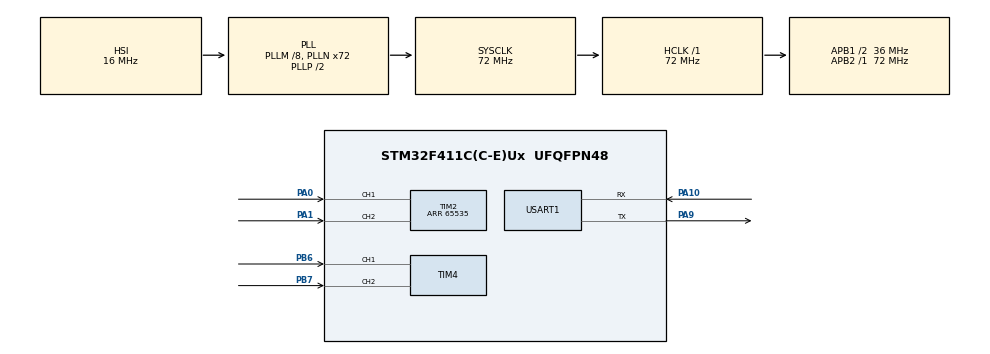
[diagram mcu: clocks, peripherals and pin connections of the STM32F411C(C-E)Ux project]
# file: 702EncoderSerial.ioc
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Mcu.Family=STM32F4
Mcu.Name=STM32F411C(C-E)Ux
Mcu.Package=UFQFPN48
NVIC.PriorityGroup=NVIC_PRIORITYGROUP_4
NVIC.TIM2_IRQn=true\:0\:0\:false\:false\:true\:true\:true\:true
NVIC.USART1_IRQn=true\:0\:0\:false\:false\:true\:true\:true\:true
PA0-WKUP.Signal=S_TIM2_CH1_ETR
PA1.Signal=S_TIM2_CH2
PA10.Mode=Asynchronous
PA10.Signal=USART1_RX
PA13.Mode=Serial_Wire
PA13.Signal=SYS_JTMS-SWDIO
PA14.Mode=Serial_Wire
PA14.Signal=SYS_JTCK-SWCLK
PA9.Mode=Asynchronous
PA9.Signal=USART1_TX
PB6.Signal=S_TIM4_CH1
PB7.Signal=S_TIM4_CH2
PH0\ -\ OSC_IN.Mode=HSE-External-Oscillator
PH0\ -\ OSC_IN.Signal=RCC_OSC_IN
PH1\ -\ OSC_OUT.Mode=HSE-External-Oscillator
PH1\ -\ OSC_OUT.Signal=RCC_OSC_OUT
ProjectManager.HeapSize=0x200
ProjectManager.StackSize=0x400
ProjectManager.TargetToolchain=STM32CubeIDE
RCC.48MHZClocksFreq_Value=36000000
RCC.AHBFreq_Value=72000000
RCC.APB1CLKDivider=RCC_HCLK_DIV2
RCC.APB1Freq_Value=36000000
RCC.APB1TimFreq_Value=72000000
RCC.APB2Freq_Value=72000000
RCC.APB2TimFreq_Value=72000000
RCC.CortexFreq_Value=72000000
RCC.HCLKFreq_Value=72000000
RCC.HSE_VALUE=25000000
RCC.HSI_VALUE=16000000
RCC.LSE_VALUE=32768
RCC.PLLM=8
RCC.PLLN=72
RCC.SYSCLKFreq_VALUE=72000000
RCC.SYSCLKSource=RCC_SYSCLKSOURCE_PLLCLK
RCC.VCOOutputFreq_Value=144000000
SH.S_TIM2_CH1_ETR.0=TIM2_CH1,Encoder_Interface
SH.S_TIM2_CH2.0=TIM2_CH2,Encoder_Interface
SH.S_TIM4_CH1.0=TIM4_CH1,Encoder_Interface
SH.S_TIM4_CH2.0=TIM4_CH2,Encoder_Interface
TIM2.EncoderMode=TIM_ENCODERMODE_TI12
TIM2.IC1Filter=10
TIM2.IC1Polarity=TIM_ICPOLARITY_FALLING
TIM2.IC2Polarity=TIM_ICPOLARITY_FALLING
TIM2.Period=65535
TIM4.IC1Filter=10
USART1.VirtualMode=VM_ASYNC
board=custom

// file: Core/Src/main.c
/* USER CODE BEGIN Header */
/**
  ******************************************************************************
  * @file           : main.c
  * @brief          : Main program body
  ******************************************************************************
  * @attention
  *
  * Copyright (c) 2025 STMicroelectronics.
  * All rights reserved.
  *
  * This software is licensed under terms that can be found in the LICENSE file
  * in the root directory of this software component.
  * If no LICENSE file comes with this software, it is provided AS-IS.
  *
  ******************************************************************************
  */

//La Fórmula Clave
//La relación entre estos parámetros y el tiempo deseado es la siguiente:
//
//Frecuencia_Deseada = Frecuencia_Reloj_Entrada / ((Prescaler + 1) * (Counter_Period + 1))
//
//O, si quieres calcular el Tiempo_Período (el inverso de la frecuencia):
//
//Tiempo_Período = ((Prescaler + 1) * (Counter_Period + 1)) / Frecuencia_Reloj_Entrada

#include <stdio.h>
/* USER CODE END Header */
#include "main.h"

TIM_HandleTypeDef htim2;
TIM_HandleTypeDef htim4;

UART_HandleTypeDef huart1;

void SystemClock_Config(void);
static void MX_GPIO_Init(void);
static void MX_USART1_UART_Init(void);
static void MX_TIM2_Init(void);
static void MX_TIM4_Init(void);

/* USER CODE BEGIN 0 */

uint32_t counter = 0;
int16_t count = 0;
int16_t position = 0;
int speed = 0;

#define RX_SERIAL_BUFFER_SIZE 100
uint8_t rxBuffer[RX_SERIAL_BUFFER_SIZE];
uint8_t rxData;
uint16_t rxIndex = 0;
uint8_t menu_string[] = "\r\n"
                          "ESC Serial:\r\n";
/* USER CODE END 0 */

int main(void)
{

  /* MCU Configuration--------------------------------------------------------*/

  /* Reset of all peripherals, Initializes the Flash interface and the Systick. */
  HAL_Init();

  /* Configure the system clock */
  SystemClock_Config();

  /* Initialize all configured peripherals */
  MX_GPIO_Init();
  MX_USART1_UART_Init();
  MX_TIM2_Init();
  MX_TIM4_Init();

  /* Infinite loop */
  /* USER CODE BEGIN WHILE */

  uint8_t message[54] = {'\0'};

  HAL_TIM_Encoder_Start_IT(&htim2, TIM_CHANNEL_ALL);

  HAL_UART_Receive_IT(&huart1, &rxData, 1);
//  char output_value[50];
  while (1)
  {
    /* USER CODE END WHILE */

    /* USER CODE BEGIN 3 */
//    sprintf((char *)message, "%lu\n\r", counter);
//    HAL_UART_Transmit(&huart1, message, sizeof(message), 100);

//    if(HAL_GPIO_ReadPin (GPIOA, GPIO_PIN_2))
//    {
//        sprintf((char *)message, "Enc Switch Released, Ticks = %lu\n\r", ((TIM2->CNT)>>2));
//        HAL_UART_Transmit(&huart1, message, sizeof(message), 100);
//    }
//    else
//    {
//        sprintf((char *)message, "Enc Switch Pressed, Ticks = %lu\n\r", ((TIM2->CNT)>>2));
//        HAL_UART_Transmit(&huart1, message, sizeof(message), 100);
//    }
//    HAL_Delay(10);

  }
  /* USER CODE END 3 */
}

void SystemClock_Config(void)
{
  RCC_OscInitTypeDef RCC_OscInitStruct = {0};
  RCC_ClkInitTypeDef RCC_ClkInitStruct = {0};

  /** Configure the main internal regulator output voltage
  */
  __HAL_RCC_PWR_CLK_ENABLE();
  __HAL_PWR_VOLTAGESCALING_CONFIG(PWR_REGULATOR_VOLTAGE_SCALE1);

  /** Initializes the RCC Oscillators according to the specified parameters
  * in the RCC_OscInitTypeDef structure.
  */
  RCC_OscInitStruct.OscillatorType = RCC_OSCILLATORTYPE_HSI;
  RCC_OscInitStruct.HSIState = RCC_HSI_ON;
  RCC_OscInitStruct.HSICalibrationValue = RCC_HSICALIBRATION_DEFAULT;
  RCC_OscInitStruct.PLL.PLLState = RCC_PLL_ON;
  RCC_OscInitStruct.PLL.PLLSource = RCC_PLLSOURCE_HSI;
  RCC_OscInitStruct.PLL.PLLM = 8;
  RCC_OscInitStruct.PLL.PLLN = 72;
  RCC_OscInitStruct.PLL.PLLP = RCC_PLLP_DIV2;
  RCC_OscInitStruct.PLL.PLLQ = 4;
  if (HAL_RCC_OscConfig(&RCC_OscInitStruct) != HAL_OK)
  {
    Error_Handler();
  }

  /** Initializes the CPU, AHB and APB buses clocks
  */
  RCC_ClkInitStruct.ClockType = RCC_CLOCKTYPE_HCLK|RCC_CLOCKTYPE_SYSCLK
                              |RCC_CLOCKTYPE_PCLK1|RCC_CLOCKTYPE_PCLK2;
  RCC_ClkInitStruct.SYSCLKSource = RCC_SYSCLKSOURCE_PLLCLK;
  RCC_ClkInitStruct.AHBCLKDivider = RCC_SYSCLK_DIV1;
  RCC_ClkInitStruct.APB1CLKDivider = RCC_HCLK_DIV2;
  RCC_ClkInitStruct.APB2CLKDivider = RCC_HCLK_DIV1;

  if (HAL_RCC_ClockConfig(&RCC_ClkInitStruct, FLASH_LATENCY_2) != HAL_OK)
  {
    Error_Handler();
  }
}

static void MX_TIM2_Init(void)
{

  TIM_Encoder_InitTypeDef sConfig = {0};
  TIM_MasterConfigTypeDef sMasterConfig = {0};

  htim2.Instance = TIM2;
  htim2.Init.Prescaler = 0;
  htim2.Init.CounterMode = TIM_COUNTERMODE_UP;
  htim2.Init.Period = 65535;
  htim2.Init.ClockDivision = TIM_CLOCKDIVISION_DIV1;
  htim2.Init.AutoReloadPreload = TIM_AUTORELOAD_PRELOAD_DISABLE;
  sConfig.EncoderMode = TIM_ENCODERMODE_TI12;
  sConfig.IC1Polarity = TIM_ICPOLARITY_FALLING;
  sConfig.IC1Selection = TIM_ICSELECTION_DIRECTTI;
  sConfig.IC1Prescaler = TIM_ICPSC_DIV1;
  sConfig.IC1Filter = 10;
  sConfig.IC2Polarity = TIM_ICPOLARITY_FALLING;
  sConfig.IC2Selection = TIM_ICSELECTION_DIRECTTI;
  sConfig.IC2Prescaler = TIM_ICPSC_DIV1;
  sConfig.IC2Filter = 0;
  if (HAL_TIM_Encoder_Init(&htim2, &sConfig) != HAL_OK)
  {
    Error_Handler();
  }
  sMasterConfig.MasterOutputTrigger = TIM_TRGO_RESET;
  sMasterConfig.MasterSlaveMode = TIM_MASTERSLAVEMODE_DISABLE;
  if (HAL_TIMEx_MasterConfigSynchronization(&htim2, &sMasterConfig) != HAL_OK)
  {
    Error_Handler();
  }

}

static void MX_TIM4_Init(void)
{

  TIM_Encoder_InitTypeDef sConfig = {0};
  TIM_MasterConfigTypeDef sMasterConfig = {0};

  htim4.Instance = TIM4;
  htim4.Init.Prescaler = 0;
  htim4.Init.CounterMode = TIM_COUNTERMODE_UP;
  htim4.Init.Period = 65535;
  htim4.Init.ClockDivision = TIM_CLOCKDIVISION_DIV1;
  htim4.Init.AutoReloadPreload = TIM_AUTORELOAD_PRELOAD_DISABLE;
  sConfig.EncoderMode = TIM_ENCODERMODE_TI1;
  sConfig.IC1Polarity = TIM_ICPOLARITY_RISING;
  sConfig.IC1Selection = TIM_ICSELECTION_DIRECTTI;
  sConfig.IC1Prescaler = TIM_ICPSC_DIV1;
  sConfig.IC1Filter = 10;
  sConfig.IC2Polarity = TIM_ICPOLARITY_RISING;
  sConfig.IC2Selection = TIM_ICSELECTION_DIRECTTI;
  sConfig.IC2Prescaler = TIM_ICPSC_DIV1;
  sConfig.IC2Filter = 0;
  if (HAL_TIM_Encoder_Init(&htim4, &sConfig) != HAL_OK)
  {
    Error_Handler();
  }
  sMasterConfig.MasterOutputTrigger = TIM_TRGO_RESET;
  sMasterConfig.MasterSlaveMode = TIM_MASTERSLAVEMODE_DISABLE;
  if (HAL_TIMEx_MasterConfigSynchronization(&htim4, &sMasterConfig) != HAL_OK)
  {
    Error_Handler();
  }

}

static void MX_USART1_UART_Init(void)
{

  huart1.Instance = USART1;
  huart1.Init.BaudRate = 115200;
  huart1.Init.WordLength = UART_WORDLENGTH_8B;
  huart1.Init.StopBits = UART_STOPBITS_1;
  huart1.Init.Parity = UART_PARITY_NONE;
  huart1.Init.Mode = UART_MODE_TX_RX;
  huart1.Init.HwFlowCtl = UART_HWCONTROL_NONE;
  huart1.Init.OverSampling = UART_OVERSAMPLING_16;
  if (HAL_UART_Init(&huart1) != HAL_OK)
  {
    Error_Handler();
  }

}

static void MX_GPIO_Init(void)
{

  /* GPIO Ports Clock Enable */
  __HAL_RCC_GPIOH_CLK_ENABLE();
  __HAL_RCC_GPIOA_CLK_ENABLE();
  __HAL_RCC_GPIOB_CLK_ENABLE();

}

/* USER CODE BEGIN 4 */

void HAL_TIM_IC_CaptureCallback(TIM_HandleTypeDef *htim) {
  if (htim->Instance == TIM2) // Verifica que sea el Timer correcto
  {
    // Aquí puedes manejar la captura de eventos del encoder
    counter = __HAL_TIM_GET_COUNTER(htim);
    count = (int16_t) counter;
    position = count / 4; // Divide por 4 para obtener la posición real del encoder
//    char message[50];
//    snprintf(message, sizeof(message), "Encoder Ticks: %lu\r\n", ticks);
//    HAL_UART_Transmit(&huart1, (uint8_t*) message, strlen(message),
//        HAL_MAX_DELAY);
  }
}

void HAL_UART_RxCpltCallback(UART_HandleTypeDef *huart)
{
  if (huart->Instance == USART1) // Verifica que sea el UART correcto
  {
    if (rxData == '\n' || rxData == '\r') // Verifica si llegó el carácter de cambio de línea
    {
      rxBuffer[rxIndex] = '\0'; // Termina la cadena
      // Procesa el mensaje recibido en rxBuffer
      rxIndex = 0; // Reinicia el índice para el próximo mensaje
//      const unsigned char crlf_sequence[] = "\r\n";
//      HAL_UART_Transmit_IT(huart, crlf_sequence, strlen((const char*)crlf_sequence));
//      HAL_UART_Transmit_IT(huart, menu, strlen((const char*)menu));
      HAL_UART_Transmit_IT(huart, menu_string, sizeof(menu_string));
    }
    else if (rxData == '\177' || rxData == '\b') // Verifica si llegó el carácter de cambio de línea
    {
      if (rxIndex > 0) {
        rxIndex--;
//        const unsigned char crlf_sequence[] = "\b \b";
//        HAL_UART_Transmit_IT(huart, crlf_sequence, strlen((const char*)crlf_sequence));
          uint8_t crlf_sequence[] = "\b \b";
          HAL_UART_Transmit_IT(huart, crlf_sequence, sizeof(crlf_sequence));
      }
    }
    else
    {
      if (rxIndex < RX_SERIAL_BUFFER_SIZE - 1) // Evita desbordamiento del búfer
      {
        rxBuffer[rxIndex++] = rxData; // Almacena el byte recibido
      }
      HAL_UART_Transmit_IT(huart, &rxData, 1);
    }
    // Reinicia la recepción de un nuevo byte
    HAL_UART_Receive_IT(huart, &rxData, 1);
  }
}
/* USER CODE END 4 */

void Error_Handler(void)
{
  __disable_irq();
  while (1)
  {
  }
}
